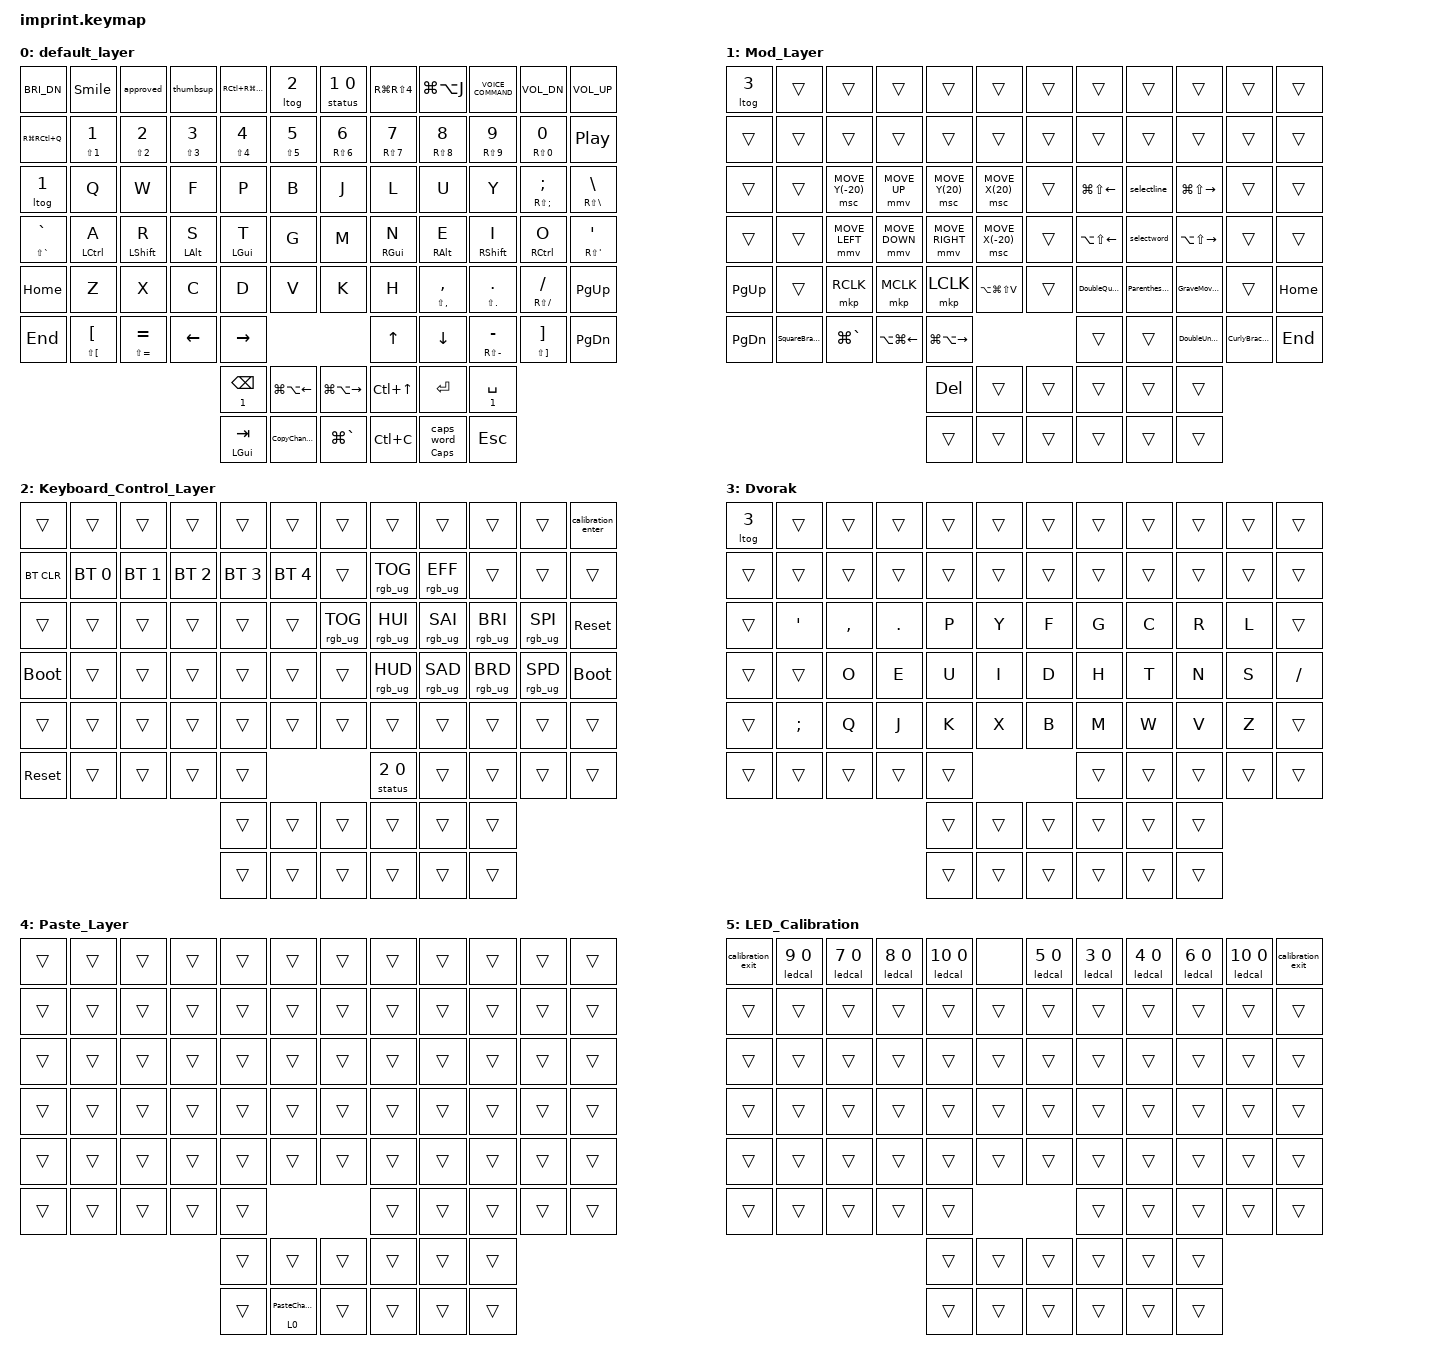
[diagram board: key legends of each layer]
#include <behaviors.dtsi>
#include <dt-bindings/zmk/bt.h>
#include <dt-bindings/zmk/keys.h>
#include <dt-bindings/zmk/pointing.h>
#include <dt-bindings/zmk/rgb.h>

#define LAYER_default_layer 0
#define LAYER_Mod_Layer 1
#define LAYER_Keyboard_Control_Layer 2
#define LAYER_Dvorak 3
#define LAYER_Paste_Layer 4
#define LAYER_LED_Calibration 5

/ {
    macros {
        calibration_enter: calibration_enter {
            compatible = "zmk,behavior-macro";
            #binding-cells = <0>;
            bindings = <&ledcal 1 0 &lto LAYER_LED_Calibration>;
        };

        calibration_exit: calibration_exit {
            compatible = "zmk,behavior-macro";
            #binding-cells = <0>;
            bindings = <&ledcal 0 0 &lto LAYER_default_layer>;
        };

        Smile: Smile {
            label = "&SMILE";
            compatible = "zmk,behavior-macro";
            #binding-cells = <0>;
            bindings = <&kp RS(SEMI) &kp RS(N0)>;
        };

        ParenthesisMoveLeft: ParenthesisMoveLeft {
            label = "&PARENTHESISMOVELEFT";
            compatible = "zmk,behavior-macro";
            #binding-cells = <0>;
            bindings = <&kp RS(N9) &kp RS(N0) &kp LEFT>;
        };

        GraveMoveLeft: GraveMoveLeft {
            label = "&GRAVEMOVELEFT";
            compatible = "zmk,behavior-macro";
            #binding-cells = <0>;
            bindings = <&kp GRAVE &kp GRAVE &kp LEFT>;
        };

        DoubleQuotesMoveLeft: DoubleQuotesMoveLeft {
            label = "&DOUBLEQUOTESMOVELEFT";
            compatible = "zmk,behavior-macro";
            #binding-cells = <0>;
            bindings = <&kp LS(SQT) &kp LS(SQT) &kp LEFT>;
        };

        thumbsup: thumbsup {
            label = "&THUMBSUP";
            compatible = "zmk,behavior-macro";
            #binding-cells = <0>;
            bindings = <&kp LS(SEMI) &kp T &kp H &kp U &kp M &kp B>;
        };

        approved: approved {
            label = "&APPROVED";
            compatible = "zmk,behavior-macro";
            #binding-cells = <0>;
            bindings = <&kp RS(SEMI) &kp A &kp P &kp P &kp R &kp O &kp V &kp E &kp D>;
        };

        selectword: selectword {
            label = "&SELECTWORD";
            compatible = "zmk,behavior-macro";
            #binding-cells = <0>;
            bindings = <&kp RA(RIGHT) &kp RA(RS(LEFT))>;
        };

        selectline: selectline {
            label = "&SELECTLINE";
            compatible = "zmk,behavior-macro";
            #binding-cells = <0>;
            bindings = <&kp RG(RIGHT) &kp RG(RS(LEFT))>;
        };

        SquareBracketsMoveLeft: SquareBracketsMoveLeft {
            label = "&SQUAREBRACKETSMOVELEFT";
            compatible = "zmk,behavior-macro";
            #binding-cells = <0>;
            bindings = <&kp LBKT &kp RBKT &kp LEFT>;
        };

        CurlyBracesMoveLeft: CurlyBracesMoveLeft {
            label = "&CURLYBRACESMOVELEFT";
            compatible = "zmk,behavior-macro";
            #binding-cells = <0>;
            bindings = <&kp LS(LBKT) &kp LS(RBKT) &kp LEFT>;
        };

        DoubleUnderscore: DoubleUnderscore {
            label = "&DOUBLEUNDERSCORE";
            compatible = "zmk,behavior-macro";
            #binding-cells = <0>;
            bindings = <&kp LS(MINUS) &kp LS(MINUS)>;
        };

        CopyChangeLayer: CopyChangeLayer {
            label = "&COPYCHANGELAYER";
            compatible = "zmk,behavior-macro";
            #binding-cells = <0>;
            bindings = <&kp LG(C) &lto LAYER_Paste_Layer>;
        };

        PasteChangeLayer: PasteChangeLayer {
            label = "&PASTECHANGELAYER";
            compatible = "zmk,behavior-macro";
            #binding-cells = <0>;
            bindings = <&kp LG(V) &lto LAYER_default_layer>;
        };
    };

    behaviors {
        status: status {
            compatible = "joe,led-status";
            #binding-cells = <2>;
        };
        ltog: ltog {
            compatible = "joe,indicator-layer";
            #binding-cells = <1>;
            mode = "toggle";
        };
        lmo: lmo {
            compatible = "joe,indicator-layer";
            #binding-cells = <1>;
            mode = "momentary";
        };
        lto: lto {
            compatible = "joe,indicator-layer";
            #binding-cells = <1>;
            mode = "to";
        };

        ledcal: ledcal {
            compatible = "joe,led-calibration";
            #binding-cells = <2>;
        };

        kpholdtap: kpholdtap {
            compatible = "zmk,behavior-hold-tap";
            #binding-cells = <2>;
            tapping-term-ms = <200>;
            bindings = <&kp>, <&kp>;

            flavor = "balanced";
            quick-tap-ms = <200>;
            require-prior-idle-ms = <125>;
        };

        layerholdtap: layerholdtap {
            compatible = "zmk,behavior-hold-tap";
            #binding-cells = <2>;
            tapping-term-ms = <200>;
            bindings = <&lmo>, <&kp>;

            flavor = "balanced";
            quick-tap-ms = <200>;
            require-prior-idle-ms = <125>;
        };

        tapcapsword: tapcapsword {
            compatible = "zmk,behavior-hold-tap";
            #binding-cells = <2>;
            tapping-term-ms = <200>;
            bindings = <&kp>, <&caps_word>;
        };

        tappasteholdcancel: tappasteholdcancel {
            compatible = "zmk,behavior-hold-tap";
            label = "TAPPASTEHOLDCANCEL";
            bindings = <&to>, <&PasteChangeLayer>;

            #binding-cells = <2>;
            tapping-term-ms = <200>;
        };
    };
};

/ {
    chosen {
        zmk,physical-layout = &physical_layout_imprint_function_row_full_bottom_row;
        zmk,underglow = &calibration_strip;
    };

    // Same strip length as the pinned Imprint shield; no LED/key mapping assumed.
    calibration_strip: calibration_strip {
        compatible = "joe,calibration-strip";
        strip = <&led_strip>;
        chain-length = <150>;
    };

    keymap {
        compatible = "zmk,keymap";

        default_layer {
            bindings = <
&kp C_BRI_DN                &Smile                    &approved                   &thumbsup             &kp RC(RG(RS(N4)))    &ltog 2                                &status 1 0           &kp RG(RS(N4))        &kp LG(LA(J))               &kp C_VOICE_COMMAND         &kp C_VOL_DN              &kp C_VOL_UP
&kp RG(RC(Q))               &kpholdtap LS(N1) N1      &kpholdtap LS(N2) N2        &kpholdtap LS(N3) N3  &kpholdtap LS(N4) N4  &kpholdtap LS(N5) N5                   &kpholdtap RS(N6) N6  &kpholdtap RS(N7) N7  &kpholdtap RS(N8) N8        &kpholdtap RS(N9) N9        &kpholdtap RS(N0) N0      &kp C_PP
&ltog 1                     &kp Q                     &kp W                       &kp F                 &kp P                 &kp B                                  &kp J                 &kp L                 &kp U                       &kp Y                       &kpholdtap RS(SEMI) SEMI  &kpholdtap RS(BSLH) BSLH
&kpholdtap LS(GRAVE) GRAVE  &kpholdtap LCTRL A        &kpholdtap LSHFT R          &kpholdtap LALT S     &kpholdtap LGUI T     &kp G                                  &kp M                 &kpholdtap RGUI N     &kpholdtap RALT E           &kpholdtap RSHFT I          &kpholdtap RCTRL O        &kpholdtap RS(SQT) SQT
&kp HOME                    &kp Z                     &kp X                       &kp C                 &kp D                 &kp V                                  &kp K                 &kp H                 &kpholdtap LS(COMMA) COMMA  &kpholdtap LS(DOT) DOT      &kpholdtap RS(FSLH) FSLH  &kp PG_UP
&kp END                     &kpholdtap LS(LBKT) LBKT  &kpholdtap LS(EQUAL) EQUAL  &kp LEFT              &kp RIGHT                                                                          &kp UP                &kp DOWN                    &kpholdtap RS(MINUS) MINUS  &kpholdtap LS(RBKT) RBKT  &kp PG_DN
                                                                                                        &layerholdtap 1 BSPC  &kp LG(LA(LEFT))  &kp LG(LA(RIGHT))    &kp LC(UP)            &kp RET               &layerholdtap 1 SPACE
                                                                                                        &kpholdtap LGUI TAB   &CopyChangeLayer  &kp LG(GRAVE)        &kp LC(C)             &tapcapsword CAPS 0   &kp ESC
            >;
        };

        Mod_Layer {
            bindings = <
&ltog 3    &trans                   &trans            &trans            &trans             &trans               &trans  &trans                 &trans                &trans             &trans                &trans
&trans     &trans                   &trans            &trans            &trans             &trans               &trans  &trans                 &trans                &trans             &trans                &trans
&trans     &trans                   &msc MOVE_Y(-20)  &mmv MOVE_UP      &msc MOVE_Y(20)    &msc MOVE_X(20)      &trans  &kp LG(LS(LEFT))       &selectline           &kp LG(LS(RIGHT))  &trans                &trans
&trans     &trans                   &mmv MOVE_LEFT    &mmv MOVE_DOWN    &mmv MOVE_RIGHT    &msc MOVE_X(-20)     &trans  &kp LA(LS(LEFT))       &selectword           &kp LA(LS(RIGHT))  &trans                &trans
&kp PG_UP  &trans                   &mkp RCLK         &mkp MCLK         &mkp LCLK          &kp LA(LG(LS(V)))    &trans  &DoubleQuotesMoveLeft  &ParenthesisMoveLeft  &GraveMoveLeft     &trans                &kp HOME
&kp PG_DN  &SquareBracketsMoveLeft  &kp LG(GRAVE)     &kp LA(LG(LEFT))  &kp LG(LA(RIGHT))                               &trans                 &trans                &DoubleUnderscore  &CurlyBracesMoveLeft  &kp END
                                                                        &kp DEL            &trans  &trans       &trans  &trans                 &trans
                                                                        &trans             &trans  &trans       &trans  &trans                 &trans
            >;
        };

        Keyboard_Control_Layer {
            bindings = <
&trans       &trans        &trans        &trans        &trans        &trans            &trans           &trans           &trans           &trans           &trans           &calibration_enter
&bt BT_CLR   &bt BT_SEL 0  &bt BT_SEL 1  &bt BT_SEL 2  &bt BT_SEL 3  &bt BT_SEL 4      &trans           &rgb_ug RGB_TOG  &rgb_ug RGB_EFF  &trans           &trans           &trans
&trans       &trans        &trans        &trans        &trans        &trans            &rgb_ug RGB_TOG  &rgb_ug RGB_HUI  &rgb_ug RGB_SAI  &rgb_ug RGB_BRI  &rgb_ug RGB_SPI  &sys_reset
&bootloader  &trans        &trans        &trans        &trans        &trans            &trans           &rgb_ug RGB_HUD  &rgb_ug RGB_SAD  &rgb_ug RGB_BRD  &rgb_ug RGB_SPD  &bootloader
&trans       &trans        &trans        &trans        &trans        &trans            &trans           &trans           &trans           &trans           &trans           &trans
&sys_reset   &trans        &trans        &trans        &trans                                           &status 2 0      &trans           &trans           &trans           &trans
                                                       &trans        &trans  &trans    &trans           &trans           &trans
                                                       &trans        &trans  &trans    &trans           &trans           &trans
            >;
        };

        Dvorak {
            bindings = <
&ltog 3  &trans    &trans     &trans   &trans  &trans            &trans  &trans  &trans  &trans  &trans  &trans
&trans   &trans    &trans     &trans   &trans  &trans            &trans  &trans  &trans  &trans  &trans  &trans
&trans   &kp SQT   &kp COMMA  &kp DOT  &kp P   &kp Y             &kp F   &kp G   &kp C   &kp R   &kp L   &trans
&trans   &trans    &kp O      &kp E    &kp U   &kp I             &kp D   &kp H   &kp T   &kp N   &kp S   &kp FSLH
&trans   &kp SEMI  &kp Q      &kp J    &kp K   &kp X             &kp B   &kp M   &kp W   &kp V   &kp Z   &trans
&trans   &trans    &trans     &trans   &trans                            &trans  &trans  &trans  &trans  &trans
                                       &trans  &trans  &trans    &trans  &trans  &trans
                                       &trans  &trans  &trans    &trans  &trans  &trans
            >;
        };

        Paste_Layer {
            bindings = <
&trans  &trans  &trans  &trans  &trans  &trans                             &trans  &trans  &trans  &trans  &trans  &trans
&trans  &trans  &trans  &trans  &trans  &trans                             &trans  &trans  &trans  &trans  &trans  &trans
&trans  &trans  &trans  &trans  &trans  &trans                             &trans  &trans  &trans  &trans  &trans  &trans
&trans  &trans  &trans  &trans  &trans  &trans                             &trans  &trans  &trans  &trans  &trans  &trans
&trans  &trans  &trans  &trans  &trans  &trans                             &trans  &trans  &trans  &trans  &trans  &trans
&trans  &trans  &trans  &trans  &trans                                             &trans  &trans  &trans  &trans  &trans
                                &trans  &trans                   &trans    &trans  &trans  &trans
                                &trans  &tappasteholdcancel 0 0  &trans    &trans  &trans  &trans
            >;
        };

        LED_Calibration {
            bindings = <
&calibration_exit  &ledcal 9 0  &ledcal 7 0  &ledcal 8 0  &ledcal 10 0  &none             &ledcal 5 0  &ledcal 3 0  &ledcal 4 0  &ledcal 6 0  &ledcal 10 0  &calibration_exit
&trans             &trans       &trans       &trans       &trans        &trans            &trans       &trans       &trans       &trans       &trans        &trans
&trans             &trans       &trans       &trans       &trans        &trans            &trans       &trans       &trans       &trans       &trans        &trans
&trans             &trans       &trans       &trans       &trans        &trans            &trans       &trans       &trans       &trans       &trans        &trans
&trans             &trans       &trans       &trans       &trans        &trans            &trans       &trans       &trans       &trans       &trans        &trans
&trans             &trans       &trans       &trans       &trans                                       &trans       &trans       &trans       &trans        &trans
                                                          &trans        &trans  &trans    &trans       &trans       &trans
                                                          &trans        &trans  &trans    &trans       &trans       &trans
            >;
        };
    };
};
